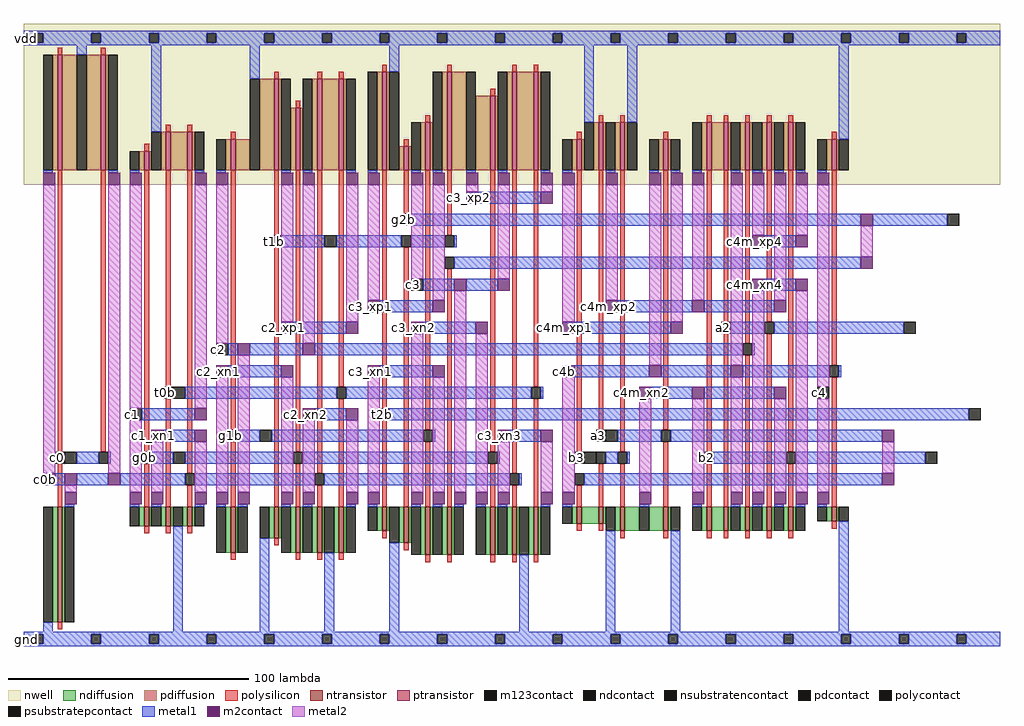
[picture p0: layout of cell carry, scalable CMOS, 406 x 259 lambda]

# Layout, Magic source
magic
tech scmos
<< nwell >>
rect 0 192 406 259
<< ntransistor >>
rect 14 10 16 58
rect 50 50 52 58
rect 59 50 61 58
rect 68 50 70 58
rect 86 39 88 58
rect 104 45 106 58
rect 113 39 115 58
rect 122 39 124 58
rect 131 39 133 58
rect 149 48 151 58
rect 158 43 160 58
rect 167 38 169 58
rect 176 38 178 58
rect 194 38 196 58
rect 203 38 205 58
rect 212 38 214 58
rect 230 51 232 58
rect 239 51 241 58
rect 248 48 250 58
rect 266 48 268 58
rect 284 48 286 58
rect 291 48 293 58
rect 300 48 302 58
rect 309 48 311 58
rect 318 48 320 58
rect 336 52 338 58
<< ptransistor >>
rect 14 198 16 246
rect 32 198 34 246
rect 50 198 52 206
rect 59 198 61 214
rect 68 198 70 214
rect 86 198 88 211
rect 104 198 106 236
rect 113 198 115 224
rect 122 198 124 236
rect 131 198 133 236
rect 149 198 151 239
rect 158 198 160 208
rect 167 198 169 218
rect 176 198 178 239
rect 194 198 196 229
rect 203 198 205 239
rect 212 198 214 239
rect 230 198 232 211
rect 239 198 241 218
rect 248 198 250 218
rect 266 198 268 211
rect 284 198 286 218
rect 291 198 293 218
rect 300 198 302 218
rect 309 198 311 218
rect 318 198 320 218
rect 336 198 338 211
<< ndiffusion >>
rect 12 10 14 58
rect 16 10 17 58
rect 48 50 50 58
rect 52 50 53 58
rect 57 50 59 58
rect 61 50 62 58
rect 66 50 68 58
rect 70 50 71 58
rect 84 39 86 58
rect 88 39 89 58
rect 102 45 104 58
rect 106 45 107 58
rect 111 39 113 58
rect 115 39 116 58
rect 120 39 122 58
rect 124 39 125 58
rect 129 39 131 58
rect 133 39 134 58
rect 147 48 149 58
rect 151 48 152 58
rect 156 43 158 58
rect 160 43 161 58
rect 165 38 167 58
rect 169 38 170 58
rect 174 38 176 58
rect 178 38 179 58
rect 192 38 194 58
rect 196 38 197 58
rect 201 38 203 58
rect 205 38 206 58
rect 210 38 212 58
rect 214 38 215 58
rect 228 51 230 58
rect 232 51 239 58
rect 241 51 242 58
rect 246 48 248 58
rect 250 48 256 58
rect 260 48 266 58
rect 268 48 269 58
rect 282 48 284 58
rect 286 48 291 58
rect 293 48 294 58
rect 298 48 300 58
rect 302 48 303 58
rect 307 48 309 58
rect 311 48 312 58
rect 316 48 318 58
rect 320 48 321 58
rect 334 52 336 58
rect 338 52 339 58
<< pdiffusion >>
rect 12 198 14 246
rect 16 198 22 246
rect 26 198 32 246
rect 34 198 35 246
rect 48 198 50 206
rect 52 198 53 206
rect 57 198 59 214
rect 61 198 68 214
rect 70 198 71 214
rect 84 198 86 211
rect 88 198 94 211
rect 98 198 104 236
rect 106 198 107 236
rect 111 198 113 224
rect 115 198 116 224
rect 120 198 122 236
rect 124 198 131 236
rect 133 198 134 236
rect 147 198 149 239
rect 151 198 152 239
rect 156 198 158 208
rect 160 198 161 208
rect 165 198 167 218
rect 169 198 170 218
rect 174 198 176 239
rect 178 198 184 239
rect 188 198 194 229
rect 196 198 197 229
rect 201 198 203 239
rect 205 198 212 239
rect 214 198 215 239
rect 228 198 230 211
rect 232 198 233 211
rect 237 198 239 218
rect 241 198 242 218
rect 246 198 248 218
rect 250 198 251 218
rect 264 198 266 211
rect 268 198 269 211
rect 282 198 284 218
rect 286 198 291 218
rect 293 198 294 218
rect 298 198 300 218
rect 302 198 303 218
rect 307 198 309 218
rect 311 198 312 218
rect 316 198 318 218
rect 320 198 321 218
rect 334 198 336 211
rect 338 198 339 211
<< ndcontact >>
rect 8 10 12 58
rect 17 10 21 58
rect 44 50 48 58
rect 53 50 57 58
rect 62 50 66 58
rect 71 50 75 58
rect 80 39 84 58
rect 89 39 93 58
rect 98 45 102 58
rect 107 39 111 58
rect 116 39 120 58
rect 125 39 129 58
rect 134 39 138 58
rect 143 48 147 58
rect 152 43 156 58
rect 161 38 165 58
rect 170 38 174 58
rect 179 38 183 58
rect 188 38 192 58
rect 197 38 201 58
rect 206 38 210 58
rect 215 38 219 58
rect 224 51 228 58
rect 242 48 246 58
rect 256 48 260 58
rect 269 48 273 58
rect 278 48 282 58
rect 294 48 298 58
rect 303 48 307 58
rect 312 48 316 58
rect 321 48 325 58
rect 330 52 334 58
rect 339 52 343 58
<< pdcontact >>
rect 8 198 12 246
rect 22 198 26 246
rect 35 198 39 246
rect 44 198 48 206
rect 53 198 57 214
rect 71 198 75 214
rect 80 198 84 211
rect 94 198 98 236
rect 107 198 111 236
rect 116 198 120 236
rect 134 198 138 236
rect 143 198 147 239
rect 152 198 156 239
rect 161 198 165 218
rect 170 198 174 239
rect 184 198 188 239
rect 197 198 201 239
rect 215 198 219 239
rect 224 198 228 211
rect 233 198 237 218
rect 242 198 246 218
rect 251 198 255 218
rect 260 198 264 211
rect 269 198 273 211
rect 278 198 282 218
rect 294 198 298 218
rect 303 198 307 218
rect 312 198 316 218
rect 321 198 325 218
rect 330 198 334 211
rect 339 198 343 211
<< psubstratepcontact >>
rect 4 1 8 5
rect 28 1 32 5
rect 52 1 56 5
rect 76 1 80 5
rect 100 1 104 5
rect 124 1 128 5
rect 148 1 152 5
rect 172 1 176 5
rect 196 1 200 5
rect 220 1 224 5
rect 244 1 248 5
rect 268 1 272 5
rect 292 1 296 5
rect 316 1 320 5
rect 340 1 344 5
rect 364 1 368 5
rect 388 1 392 5
<< nsubstratencontact >>
rect 4 251 8 255
rect 28 251 32 255
rect 52 251 56 255
rect 76 251 80 255
rect 100 251 104 255
rect 124 251 128 255
rect 148 251 152 255
rect 172 251 176 255
rect 196 251 200 255
rect 220 251 224 255
rect 244 251 248 255
rect 268 251 272 255
rect 292 251 296 255
rect 316 251 320 255
rect 340 251 344 255
rect 364 251 368 255
rect 388 251 392 255
<< polysilicon >>
rect 14 246 16 249
rect 32 246 34 249
rect 149 239 151 242
rect 176 239 178 242
rect 203 239 205 242
rect 212 239 214 242
rect 104 236 106 239
rect 122 236 124 239
rect 131 236 133 239
rect 59 214 61 217
rect 68 214 70 217
rect 50 206 52 209
rect 86 211 88 214
rect 113 224 115 227
rect 167 218 169 221
rect 158 208 160 211
rect 194 229 196 232
rect 239 218 241 221
rect 248 218 250 221
rect 284 218 286 221
rect 291 218 293 221
rect 300 218 302 221
rect 309 218 311 221
rect 318 218 320 221
rect 230 211 232 214
rect 266 211 268 214
rect 336 211 338 214
rect 14 81 16 198
rect 32 81 34 198
rect 50 81 52 198
rect 59 108 61 198
rect 14 58 16 76
rect 50 58 52 76
rect 59 58 61 103
rect 68 72 70 198
rect 86 90 88 198
rect 104 171 106 198
rect 68 58 70 67
rect 86 58 88 85
rect 104 58 106 166
rect 113 81 115 198
rect 113 58 115 76
rect 122 72 124 198
rect 131 108 133 198
rect 122 58 124 67
rect 131 58 133 103
rect 149 99 151 198
rect 158 180 160 198
rect 149 58 151 94
rect 158 58 160 166
rect 167 90 169 198
rect 176 171 178 198
rect 167 58 169 85
rect 176 58 178 157
rect 194 81 196 198
rect 194 58 196 76
rect 203 72 205 198
rect 212 108 214 198
rect 203 58 205 67
rect 212 58 214 103
rect 230 81 232 198
rect 239 90 241 198
rect 248 81 250 198
rect 266 90 268 198
rect 230 58 232 67
rect 239 58 241 76
rect 248 58 250 76
rect 266 58 268 85
rect 284 81 286 198
rect 291 135 293 198
rect 284 58 286 76
rect 291 58 293 130
rect 300 126 302 198
rect 309 135 311 198
rect 300 58 302 121
rect 309 58 311 130
rect 318 81 320 198
rect 336 117 338 198
rect 318 58 320 76
rect 336 58 338 112
rect 50 47 52 50
rect 59 47 61 50
rect 68 47 70 50
rect 104 42 106 45
rect 149 45 151 48
rect 158 40 160 43
rect 86 36 88 39
rect 113 36 115 39
rect 122 36 124 39
rect 131 36 133 39
rect 230 48 232 51
rect 239 48 241 51
rect 336 49 338 52
rect 248 45 250 48
rect 266 45 268 48
rect 284 45 286 48
rect 291 45 293 48
rect 300 45 302 48
rect 309 45 311 48
rect 318 45 320 48
rect 167 35 169 38
rect 176 35 178 38
rect 194 35 196 38
rect 203 35 205 38
rect 212 35 214 38
rect 14 7 16 10
<< polycontact >>
rect 58 103 62 108
rect 13 76 17 81
rect 31 76 35 81
rect 49 76 53 81
rect 103 166 107 171
rect 85 85 89 90
rect 67 67 71 72
rect 112 76 116 81
rect 130 103 134 108
rect 121 67 125 72
rect 157 175 161 180
rect 157 166 161 171
rect 148 94 152 99
rect 175 166 179 171
rect 175 157 179 162
rect 166 85 170 90
rect 193 76 197 81
rect 211 103 215 108
rect 202 67 206 72
rect 238 85 242 90
rect 265 85 269 90
rect 229 76 233 81
rect 238 76 242 81
rect 247 76 251 81
rect 229 67 233 72
rect 290 130 294 135
rect 283 76 287 81
rect 308 130 312 135
rect 299 121 303 126
rect 335 112 339 117
rect 317 76 321 81
<< metal1 >>
rect 0 255 406 256
rect 0 251 4 255
rect 8 251 28 255
rect 32 251 52 255
rect 56 251 76 255
rect 80 251 100 255
rect 104 251 124 255
rect 128 251 148 255
rect 152 251 172 255
rect 176 251 196 255
rect 200 251 220 255
rect 224 251 244 255
rect 248 251 268 255
rect 272 251 292 255
rect 296 251 316 255
rect 320 251 340 255
rect 344 251 364 255
rect 368 251 388 255
rect 392 251 406 255
rect 0 250 406 251
rect 22 246 26 250
rect 53 214 57 250
rect 94 236 98 250
rect 152 239 156 250
rect 8 197 12 198
rect 35 197 39 198
rect 44 197 48 198
rect 71 197 75 198
rect 80 197 84 198
rect 107 197 111 198
rect 116 197 120 198
rect 134 197 138 198
rect 143 197 147 198
rect 161 197 165 198
rect 170 197 174 198
rect 184 197 188 198
rect 197 197 201 198
rect 233 218 237 250
rect 251 218 255 250
rect 215 197 219 198
rect 224 197 228 198
rect 242 197 246 198
rect 260 197 264 198
rect 269 197 273 198
rect 278 197 282 198
rect 294 197 298 198
rect 303 197 307 198
rect 312 197 316 198
rect 339 211 343 250
rect 321 197 325 198
rect 330 197 334 198
rect 189 184 215 189
rect 161 175 348 180
rect 353 175 384 180
rect 107 166 125 171
rect 130 166 157 171
rect 161 166 175 171
rect 179 166 180 171
rect 308 166 321 171
rect 179 157 348 162
rect 166 148 179 153
rect 184 148 197 153
rect 308 148 321 153
rect 148 139 170 144
rect 247 139 278 144
rect 283 139 312 144
rect 112 130 134 135
rect 166 130 188 135
rect 229 130 269 135
rect 294 130 308 135
rect 312 130 366 135
rect 85 121 89 126
rect 94 121 116 126
rect 121 121 299 126
rect 303 121 304 126
rect 85 112 107 117
rect 148 112 170 117
rect 229 112 260 117
rect 265 112 294 117
rect 299 112 335 117
rect 339 112 340 117
rect 67 103 130 108
rect 134 103 211 108
rect 215 103 216 108
rect 261 103 278 108
rect 283 103 312 108
rect 49 94 71 99
rect 121 94 134 99
rect 152 94 393 99
rect 58 85 71 90
rect 89 85 98 90
rect 103 85 166 90
rect 170 85 171 90
rect 202 85 215 90
rect 247 85 265 90
rect 269 85 357 90
rect 22 76 31 81
rect 35 76 36 81
rect 53 76 62 81
rect 67 76 112 81
rect 116 76 193 81
rect 197 76 198 81
rect 242 76 247 81
rect 251 76 252 81
rect 287 76 317 81
rect 321 76 375 81
rect 13 67 17 72
rect 22 67 35 72
rect 40 67 67 72
rect 71 67 121 72
rect 125 67 202 72
rect 206 67 207 72
rect 233 67 357 72
rect 17 58 21 59
rect 44 58 48 59
rect 53 58 57 59
rect 71 58 75 59
rect 80 58 84 59
rect 8 6 12 10
rect 62 6 66 50
rect 89 58 93 59
rect 107 58 111 59
rect 98 6 102 45
rect 116 58 120 59
rect 134 58 138 59
rect 143 58 147 59
rect 161 58 165 59
rect 125 6 129 39
rect 152 6 156 43
rect 170 58 174 59
rect 179 58 183 59
rect 188 58 192 59
rect 197 58 201 59
rect 215 58 219 59
rect 224 58 228 59
rect 256 58 260 59
rect 278 58 282 59
rect 294 58 298 59
rect 303 58 307 59
rect 312 58 316 59
rect 321 58 325 59
rect 330 58 334 59
rect 206 6 210 38
rect 242 6 246 48
rect 269 6 273 48
rect 339 6 343 52
rect 0 5 406 6
rect 0 1 4 5
rect 8 1 28 5
rect 32 1 52 5
rect 56 1 76 5
rect 80 1 100 5
rect 104 1 124 5
rect 128 1 148 5
rect 152 1 172 5
rect 176 1 196 5
rect 200 1 220 5
rect 224 1 244 5
rect 248 1 268 5
rect 272 1 292 5
rect 296 1 316 5
rect 320 1 340 5
rect 344 1 364 5
rect 368 1 388 5
rect 392 1 406 5
rect 0 0 406 1
<< m2contact >>
rect 8 192 13 197
rect 35 192 40 197
rect 44 192 49 197
rect 71 192 76 197
rect 80 192 85 197
rect 107 192 112 197
rect 116 192 121 197
rect 134 192 139 197
rect 143 192 148 197
rect 161 192 166 197
rect 170 192 175 197
rect 184 192 189 197
rect 197 192 202 197
rect 215 192 220 197
rect 224 192 229 197
rect 242 192 247 197
rect 260 192 265 197
rect 269 192 274 197
rect 278 192 283 197
rect 294 192 299 197
rect 303 192 308 197
rect 312 192 317 197
rect 321 192 326 197
rect 330 192 335 197
rect 184 184 189 189
rect 215 184 220 189
rect 348 175 353 180
rect 303 166 308 171
rect 321 166 326 171
rect 348 157 353 162
rect 179 148 184 153
rect 197 148 202 153
rect 303 148 308 153
rect 321 148 326 153
rect 143 139 148 144
rect 170 139 175 144
rect 242 139 247 144
rect 278 139 283 144
rect 312 139 317 144
rect 107 130 112 135
rect 134 130 139 135
rect 161 130 166 135
rect 188 130 193 135
rect 224 130 229 135
rect 269 130 274 135
rect 89 121 94 126
rect 116 121 121 126
rect 80 112 85 117
rect 107 112 112 117
rect 143 112 148 117
rect 170 112 175 117
rect 224 112 229 117
rect 260 112 265 117
rect 294 112 299 117
rect 256 103 261 108
rect 278 103 283 108
rect 312 103 317 108
rect 71 94 76 99
rect 116 94 121 99
rect 134 94 139 99
rect 53 85 58 90
rect 71 85 76 90
rect 197 85 202 90
rect 215 85 220 90
rect 357 85 362 90
rect 8 67 13 72
rect 17 67 22 72
rect 35 67 40 72
rect 357 67 362 72
rect 17 59 22 64
rect 44 59 49 64
rect 53 59 58 64
rect 71 59 76 64
rect 80 59 85 64
rect 89 59 94 64
rect 107 59 112 64
rect 116 59 121 64
rect 134 59 139 64
rect 143 59 148 64
rect 161 59 166 64
rect 170 59 175 64
rect 179 59 184 64
rect 188 59 193 64
rect 197 59 202 64
rect 215 59 220 64
rect 224 59 229 64
rect 256 59 261 64
rect 278 59 283 64
rect 294 59 299 64
rect 303 59 308 64
rect 312 59 317 64
rect 321 59 326 64
rect 330 59 335 64
<< metal2 >>
rect 8 72 13 192
rect 35 72 40 192
rect 44 99 49 192
rect 71 99 76 192
rect 80 126 85 192
rect 107 135 112 192
rect 116 126 121 192
rect 134 135 139 192
rect 143 144 148 192
rect 161 153 166 192
rect 170 144 175 192
rect 184 189 189 192
rect 197 153 202 192
rect 215 189 220 192
rect 17 64 22 67
rect 44 64 49 94
rect 53 64 58 85
rect 71 64 76 85
rect 80 64 85 112
rect 89 64 94 121
rect 107 64 112 112
rect 116 64 121 94
rect 134 64 139 94
rect 143 64 148 112
rect 161 64 166 130
rect 170 64 175 112
rect 179 64 184 148
rect 224 135 229 192
rect 242 144 247 192
rect 188 64 193 130
rect 260 117 265 192
rect 269 135 274 192
rect 278 144 283 192
rect 294 117 299 192
rect 303 171 308 192
rect 197 64 202 85
rect 215 64 220 85
rect 224 64 229 112
rect 256 64 261 103
rect 278 64 283 103
rect 294 64 299 112
rect 303 64 308 148
rect 312 144 317 192
rect 321 171 326 192
rect 312 64 317 103
rect 321 64 326 148
rect 330 108 335 192
rect 348 162 353 175
rect 330 64 335 103
rect 357 72 362 85
<< m123contact >>
rect 17 76 22 81
rect 62 103 67 108
rect 44 94 49 99
rect 125 166 130 171
rect 161 148 166 153
rect 80 121 85 126
rect 62 76 67 81
rect 98 85 103 90
rect 242 85 247 90
rect 233 76 238 81
rect 384 175 389 180
rect 366 130 371 135
rect 330 103 335 108
rect 393 94 398 99
rect 375 76 380 81
<< labels >>
rlabel metal1 290 130 292 135 0 a2
port 1 nsew
rlabel metal1 238 85 240 90 0 a3
port 2 nsew
rlabel metal1 283 76 285 81 0 b2
port 3 nsew
rlabel metal1 229 76 231 81 0 b3
port 4 nsew
rlabel metal1 13 76 15 81 0 c0
port 5 nsew
rlabel metal1 44 94 46 99 0 c1
port 6 nsew
rlabel metal1 80 121 82 126 0 c2
port 7 nsew
rlabel metal1 161 148 163 153 0 c3
port 8 nsew
rlabel metal1 330 103 332 108 0 c4
port 9 nsew
rlabel metal1 49 76 51 81 0 g0b
port 10 nsew
rlabel metal1 85 85 87 90 0 g1b
port 11 nsew
rlabel metal1 157 175 159 180 0 g2b
port 12 nsew
rlabel metal1 58 103 60 108 0 t0b
port 13 nsew
rlabel metal1 103 166 105 171 0 t1b
port 14 nsew
rlabel metal1 148 94 150 99 0 t2b
port 15 nsew
rlabel m2contact 8 67 10 72 0 c0b
rlabel m2contact 53 85 55 90 0 c1_xn1
rlabel m2contact 80 112 82 117 0 c2_xn1
rlabel m2contact 116 94 118 99 0 c2_xn2
rlabel m2contact 107 130 109 135 0 c2_xp1
rlabel m2contact 143 112 145 117 0 c3_xn1
rlabel m2contact 161 130 163 135 0 c3_xn2
rlabel m2contact 197 85 199 90 0 c3_xn3
rlabel m2contact 143 139 145 144 0 c3_xp1
rlabel m2contact 184 184 186 189 0 c3_xp2
rlabel m2contact 224 112 226 117 0 c4b
rlabel m2contact 256 103 258 108 0 c4m_xn2
rlabel m2contact 303 148 305 153 0 c4m_xn4
rlabel m2contact 224 130 226 135 0 c4m_xp1
rlabel m2contact 242 139 244 144 0 c4m_xp2
rlabel m2contact 303 166 305 171 0 c4m_xp4
rlabel metal1 0 250 2 256 0 vdd
port 16 nsew
rlabel metal1 0 0 2 6 0 gnd
port 17 nsew
<< end >>
